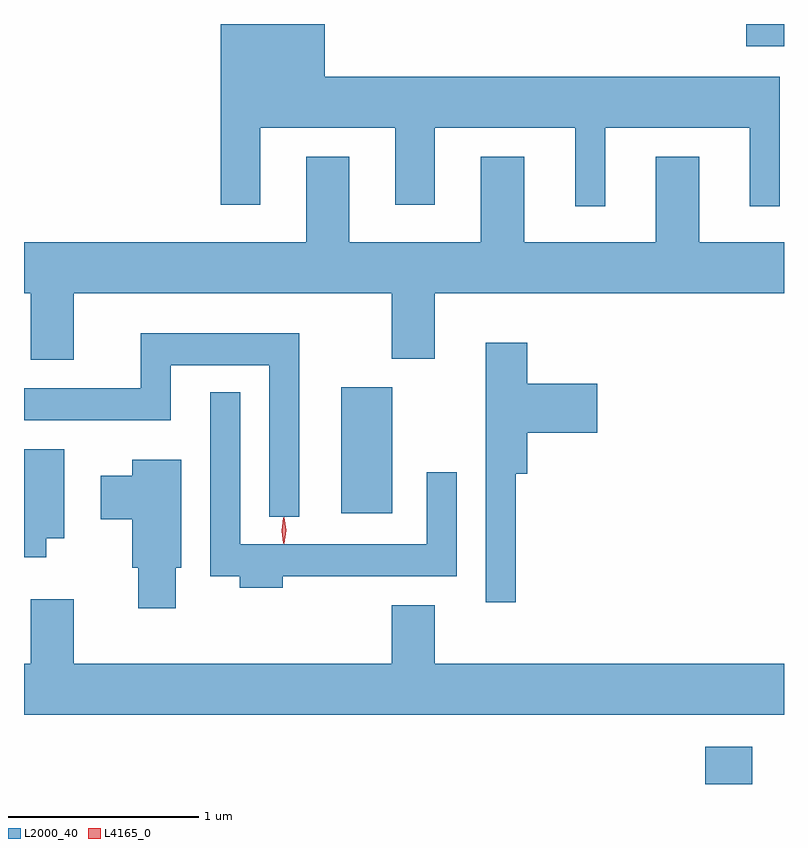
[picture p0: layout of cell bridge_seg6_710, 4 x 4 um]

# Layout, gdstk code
import gdstk
lib = gdstk.Library(unit=1e-6, precision=1e-09)
def R(c, l, rs):  # rectangles x0, y0, x1, y1
    for r in rs: c.add(gdstk.rectangle(r[:2], r[2:], *l))
def P(c, l, *ps):  # polygons
    for p in ps: c.add(gdstk.Polygon(p, *l))
L2000_40 = (2000, 40)
L4165_0 = (4165, 0)

bridge_seg6_710 = lib.new_cell('bridge_seg6_710')
R(bridge_seg6_710, L2000_40, [(587.541,1534.132,587.789,1534.329), (585.626,1535.556,585.894,1536.219), (587.756,1538.016,587.956,1538.132)])
P(bridge_seg6_710, L2000_40, [(587.014,1537.586),(587.776,1537.586),(587.776,1537.173),(587.934,1537.173),(587.934,1537.854),(585.539,1537.854),(585.539,1538.132),(584.991,1538.132),(584.991,1537.181),(585.199,1537.181),(585.199,1537.586),(585.911,1537.586),(585.911,1537.181),(586.119,1537.181),(586.119,1537.586),(586.856,1537.586),(586.856,1537.173),(587.014,1537.173)],
  [(584.219,1536.716),(585.891,1536.716),(585.891,1536.371),(586.119,1536.371),(586.119,1536.716),(587.956,1536.716),(587.956,1536.984),(587.509,1536.984),(587.509,1537.434),(587.281,1537.434),(587.281,1536.984),(586.589,1536.984),(586.589,1537.434),(586.361,1537.434),(586.361,1536.984),(585.669,1536.984),(585.669,1537.434),(585.441,1537.434),(585.441,1536.984),(583.956,1536.984),(583.956,1536.716),(583.991,1536.716),(583.991,1536.366),(584.219,1536.366)],
  [(585.404,1536.504),(584.571,1536.504),(584.571,1536.214),(583.956,1536.214),(583.956,1536.046),(584.729,1536.046),(584.729,1536.336),(585.246,1536.336),(585.246,1535.538),(585.404,1535.538)],
  [(586.544,1535.766),(586.604,1535.766),(586.604,1535.981),(586.974,1535.981),(586.974,1536.239),(586.604,1536.239),(586.604,1536.454),(586.386,1536.454),(586.386,1535.088),(586.544,1535.088)],
  [(585.319,1535.226),(586.234,1535.226),(586.234,1535.773),(586.076,1535.773),(586.076,1535.394),(585.094,1535.394),(585.094,1536.193),(584.936,1536.193),(584.936,1535.226),(585.091,1535.226),(585.091,1535.166),(585.319,1535.166)],
  [(584.074,1535.426),(584.169,1535.426),(584.169,1535.894),(583.956,1535.894),(583.956,1535.326),(584.074,1535.326)],
  [(584.754,1535.271),(584.784,1535.271),(584.784,1535.839),(584.526,1535.839),(584.526,1535.754),(584.361,1535.754),(584.361,1535.526),(584.526,1535.526),(584.526,1535.271),(584.556,1535.271),(584.556,1535.056),(584.754,1535.056)],
  [(587.956,1534.764),(586.119,1534.764),(586.119,1535.074),(585.891,1535.074),(585.891,1534.764),(584.219,1534.764),(584.219,1535.104),(583.991,1535.104),(583.991,1534.764),(583.956,1534.764),(583.956,1534.496),(587.956,1534.496)])
P(bridge_seg6_710, L4165_0, [(585.322,1535.399),(585.321,1535.4),(585.312,1535.466),(585.321,1535.533),(585.322,1535.533),(585.322,1535.533),(585.332,1535.466),(585.322,1535.4)],
  [(585.325,1535.397),(585.316,1535.467),(585.325,1535.536),(585.326,1535.536),(585.326,1535.536),(585.336,1535.467),(585.326,1535.397),(585.326,1535.397)])

lib.write_gds('bridge_seg6_710.gds')
